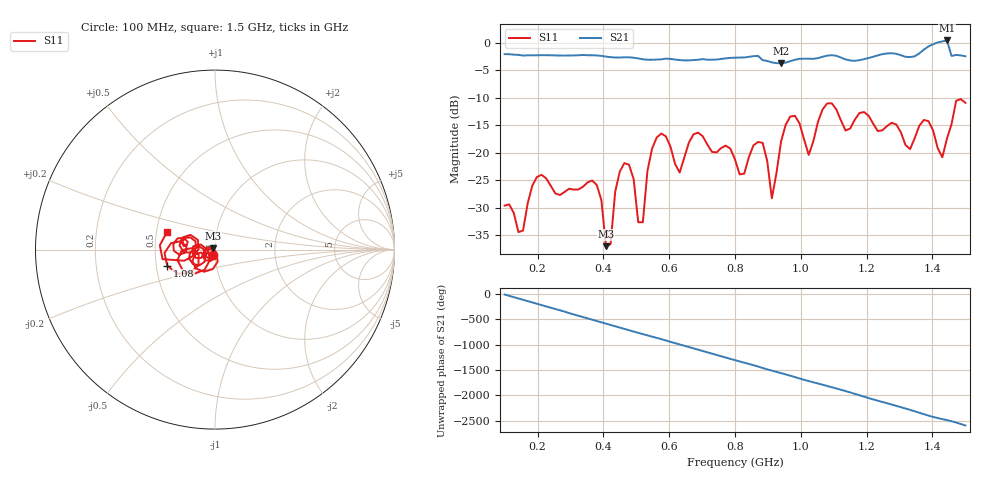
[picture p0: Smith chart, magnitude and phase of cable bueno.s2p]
! NanoVNA-App
! Date: 2024-11-06 19:35:17
! Start: 100MHz Stop: 1.5GHz Points: 101
! S-Parameter data: F S11 S21 S12 S22
# Hz S RI R 50
!  Frequency  S11_Real  S11_Imag  S21_Real  S21_Imag  S12_Real  S12_Imag  S22_Real  S22_Imag
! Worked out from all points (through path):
!   101 points, 100 MHz to 1.5 GHz, reference 50 ohm
!   highest |S21| = 0.45 dB at 1.444 GHz (marker M1); lowest = -3.7 dB at 940 MHz (marker M2)
!   lowest |S11| = -37.0 dB at 408 MHz (marker M3), VSWR 1.03, Z = 48.9 + j0.804 ohm
!   |S11| at or under -10 dB: start of sweep to end of sweep
!   S12 and S22 are empty: the file has one direction only
!   S11 on the Smith chart (normalised r, x): 100 MHz: 0.97, -0.06; 1.08 GHz: 0.57, -0.11; 1.5 GHz: 0.57, +0.12
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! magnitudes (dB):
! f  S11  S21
! 100 MHz  -29.6  -2.0
! 142 MHz  -34.5  -2.2
! 198 MHz  -24.4  -2.2
! 338 MHz  -26.2  -2.2
! 380 MHz  -25.9  -2.3
! 408 MHz  -37.0  -2.5
! 464 MHz  -21.9  -2.6
! 520 MHz  -32.7  -3.0
! 548 MHz  -19.3  -3.1
! 576 MHz  -16.5  -3.0
! 632 MHz  -23.6  -3.1
! 688 MHz  -16.3  -3.1
! 800 MHz  -21.2  -2.7
! 884 MHz  -18.2  -3.1
! 912 MHz  -28.3  -3.5
! 940 MHz  -17.9  -3.7
! 982 MHz  -13.3  -3.1
! 1.038 GHz  -17.9  -2.9
! 1.08 GHz  -11.0  -2.3
! 1.276 GHz  -14.5  -1.9
! 1.444 GHz  -17.4  0.5
! 1.5 GHz  -10.9  -2.4
